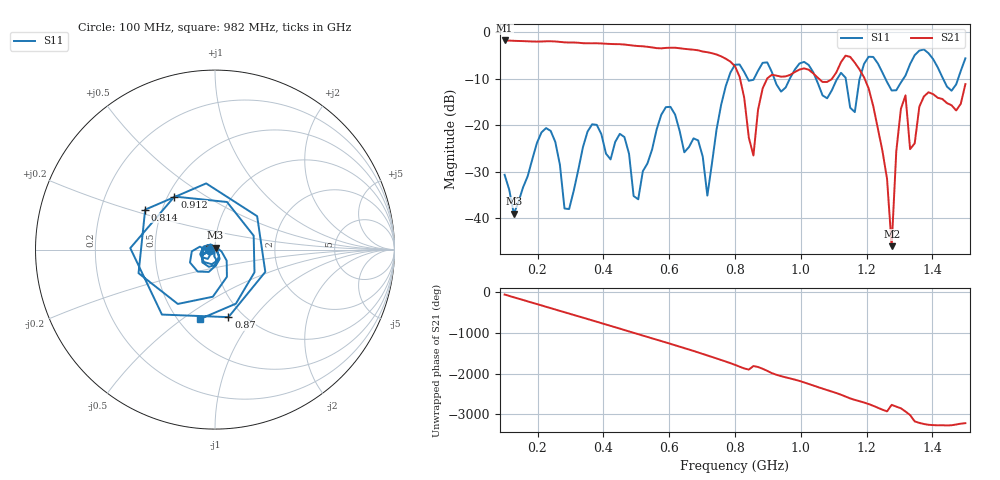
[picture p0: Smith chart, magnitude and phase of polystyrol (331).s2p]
! NanoVNA-App
! Date: 2025-09-25 15:32:28
! Start: 100MHz Stop: 1,5GHz Points: 101
! S-Parameter data: F S11 S21 S12 S22
# Hz S RI R 50
!  Frequency  S11_Real  S11_Imag  S21_Real  S21_Imag  S12_Real  S12_Imag  S22_Real  S22_Imag
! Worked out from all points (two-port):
!   101 points, 100 MHz to 1.5 GHz, reference 50 ohm
!   highest |S21| = -1.80 dB at 100 MHz (marker M1); lowest = -46.1 dB at 1.276 GHz (marker M2)
!   |S21| within 3 dB of the highest: start of sweep to 742.9 MHz
!   lowest |S11| = -39.1 dB at 128 MHz (marker M3), VSWR 1.02, Z = 50.3 + j1.06 ohm
!   |S11| at or under -10 dB: start of sweep to 779.8 MHz; 1.046 GHz to 1.111 GHz (65.29 MHz wide, 6.05 % of centre); 1.257 GHz to 1.312 GHz (55.13 MHz wide, 4.29 % of centre)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
!   S12 and S22 are empty: the file has one direction only
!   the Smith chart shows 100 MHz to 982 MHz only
!   S11 on the Smith chart (normalised r, x): 100 MHz: 0.94, -0.01; 814 MHz: 0.40, +0.22; 870 MHz: 0.85, -0.75; 912 MHz: 0.54, +0.37; 982 MHz: 0.64, -0.58
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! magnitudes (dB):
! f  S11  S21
! 100 MHz  -30.7  -1.8
! 128 MHz  -39.1  -1.9
! 212 MHz  -21.6  -2.0
! 282 MHz  -38.0  -2.2
! 338 MHz  -24.8  -2.4
! 464 MHz  -22.6  -2.7
! 506 MHz  -36.0  -3.0
! 576 MHz  -17.8  -3.5
! 716 MHz  -35.2  -4.3
! 800 MHz  -7.0  -7.3
! 814 MHz  -7.0  -9.6
! 856 MHz  -10.3  -26.6
! 870 MHz  -8.3  -16.7
! 912 MHz  -8.6  -9.2
! 982 MHz  -8.0  -8.6
! 1.038 GHz  -8.7  -8.9
! 1.164 GHz  -17.2  -6.6
! 1.192 GHz  -6.8  -9.7
! 1.276 GHz  -12.6  -46.1
! 1.318 GHz  -9.4  -13.6
! 1.332 GHz  -6.9  -25.2
! 1.5 GHz  -5.6  -11.2
